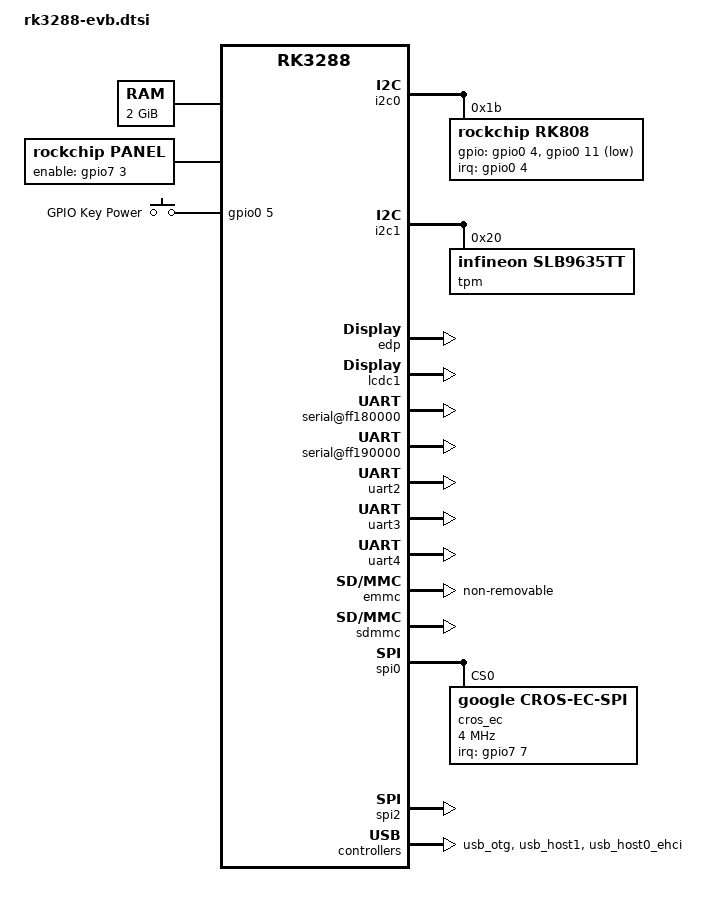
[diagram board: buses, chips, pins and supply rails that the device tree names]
/*
 * This program is free software; you can redistribute it and/or modify
 * it under the terms of the GNU General Public License as published by
 * the Free Software Foundation; either version 2 of the License, or
 * (at your option) any later version.
 *
 * This program is distributed in the hope that it will be useful,
 * but WITHOUT ANY WARRANTY; without even the implied warranty of
 * MERCHANTABILITY or FITNESS FOR A PARTICULAR PURPOSE.  See the
 * GNU General Public License for more details.
 */

#include <dt-bindings/input/input.h>
#include "rk3288.dtsi"

/ {
	aliases {
		serial0 = &uart0;
		serial1 = &uart1;
		serial2 = &uart2;
		serial3 = &uart3;
		serial4 = &uart4;
	};

	memory {
		reg = <0x0 0x80000000>;
	};

	/* for lvds 
	panel:panel {
		      compatible = "rockchip,panel";
		      status = "okay";
		      rockchip,output-face = "r6g6b6";

		      enable-gpios = <&gpio7 3 GPIO_ACTIVE_HIGH
					&gpio7 4 GPIO_ACTIVE_HIGH
					&gpio7 0 GPIO_ACTIVE_HIGH
					&gpio7 2 GPIO_ACTIVE_HIGH>;
		      output-dither;

		      display-timings {
			      	native-mode = <&timing0>;
				timing0: 1280x800 {
					 clock-frequency = <71000000>;
					 hactive = <1280>;
					 vactive = <800>;
					 hback-porch = <100>;
					 hfront-porch = <18>;
					 vback-porch = <8>;
					 vfront-porch = <6>;
					 hsync-len = <10>;
					 vsync-len = <2>;
					 hsync-active = <0>;
					 vsync-active = <0>;
					 de-active = <0>;
					 pixelclk-active = <0>;
				};
		      };
	};*/
// for 1536x2048 edp
	panel:panel {
		      compatible = "rockchip,panel";
		      status = "okay";
		      rockchip,output-face = "r6g6b6";

		      enable-gpios = <&gpio7 3 GPIO_ACTIVE_HIGH>;
		      output-dither;

		display-timings {
				native-mode = <&timing1>;
				timing1: timing@1 {
					clock-frequency = <205000000>;
					hactive = <1536>;
					vactive = <2048>;
					hback-porch = <48>;
					hfront-porch = <12>;
					vback-porch = <8>;
					vfront-porch = <8>;
					hsync-len = <16>;
					vsync-len = <4>;
					hsync-active = <0>;
					vsync-active = <0>;
					de-active = <0>;
					pixelclk-active = <1>;
				};
			};
	};

	soc {
		gpio-keys {
			compatible = "gpio-keys";
			#address-cells = <1>;
			#size-cells = <0>;
			autorepeat;

			button@0 {
				gpios = <&gpio0 5 GPIO_ACTIVE_HIGH>;
				linux,code = <116>;
				label = "GPIO Key Power";
				linux,input-type = <1>;
				gpio-key,wakeup = <1>;
				debounce-interval = <100>;
			};
		};

		i2c0: i2c@ff650000 {
			pinctrl-names = "default";
			pinctrl-0 = <&i2c0_xfer>;
			status = "okay";
			rk808: rk808@1b {
				compatible = "rockchip,rk808";
				reg = <0x1b>;
				interrupt-parent = <&gpio0>;
				interrupts = <4 IRQ_TYPE_EDGE_FALLING>; /* gpio0_a */
				gpios = <&gpio0 4 GPIO_ACTIVE_HIGH>,<&gpio0 11 GPIO_ACTIVE_LOW>;
			};
		};

		i2c1: i2c@ff140000 {
			pinctrl-names = "default";
			pinctrl-0 = <&i2c1_xfer>;
			status = "okay";
			tpm: tpm@20 {
				compatible = "infineon,slb9635tt";
				reg = <0x20>;
			};
		};

		edp: edp@ff970000 {                                                                                                        
			//status = "disabled";
			rockchip,panel = <&panel>;
			status = "okay";
		};

		lvds: lvds@ff96c000 {
			status = "disabled";
			rockchip,data-mapping = "jeida";
			rockchip,data-width = <24>;
		      rockchip,panel = <&panel>;
		};

		lcdc1: lcdc@ff940000 {
			status = "okay";
		 };
	
		watchdog@ff800000 {
			status = "okay";
		};

		serial@ff180000 {
			status = "okay";
		};

		serial@ff190000 {
			status = "okay";
		};

		uart2: serial@ff690000 {
			pinctrl-names = "default";
			pinctrl-0 = <&uart2_xfer>;
			status = "okay";
		};

		uart3: serial@ff1b0000 {
			status = "okay";
		};

		uart4: serial@ff1c0000 {
			status = "okay";
		};
	};
};

&emmc {
	num-slots = <1>;
	status = "okay";

	broken-cd;
	non-removable;
	supports-highspeed;

	pinctrl-names = "default";
	pinctrl-0 = <&emmc_clk &emmc_cmd &emmc_pwr &emmc_bus8>;

	slot@0 {
		reg = <0>;
		bus-width = <8>;
		disable-wp;
	};
};

&sdmmc {
	num-slots = <1>;
	status = "okay";

	pinctrl-names = "default";
	pinctrl-0 = <&sdmmc_clk &sdmmc_cmd &sdmmc_cd &sdmmc_bus4>;

	slot@0 {
		reg = <0>;
		bus-width = <4>;
		disable-wp;
	};
};

&spi0 {
	status = "okay";
	cros_ec: cros-ec@0 {
		compatible = "google,cros-ec-spi";
		spi-max-frequency = <4000000>;
		interrupt-parent = <&gpio7>;
		interrupts = <7 IRQ_TYPE_LEVEL_LOW>;
		reg = <0>;

		google,cros-ec-spi-msg-delay = <2000>;

		charger: gpio-charger@0 {
			compatible = "gpio-charger";
			charger-type = "usb-sdp";
			gpios = <&gpio0 8 GPIO_ACTIVE_HIGH>;
		};

		i2c-tunnel {
			compatible = "google,cros-ec-i2c-tunnel";
			#address-cells = <1>;
			#size-cells = <0>;

			google,remote-bus = <0>;

			battery: sbs-battery@b {
				compatible = "sbs,sbs-battery";
				reg = <0xb>;
				sbs,i2c-retry-count = <2>;
				sbs,poll-retry-count = <1>;
			};
		};
	};
};

&spi2 {
	status = "okay";
};

&usb_otg {
	status = "okay";
};

&usb_host1 {
	status = "okay";
};

&usb_host0_ehci {
	status = "okay";
};
#include "cros-ec-keyboard.dtsi"
